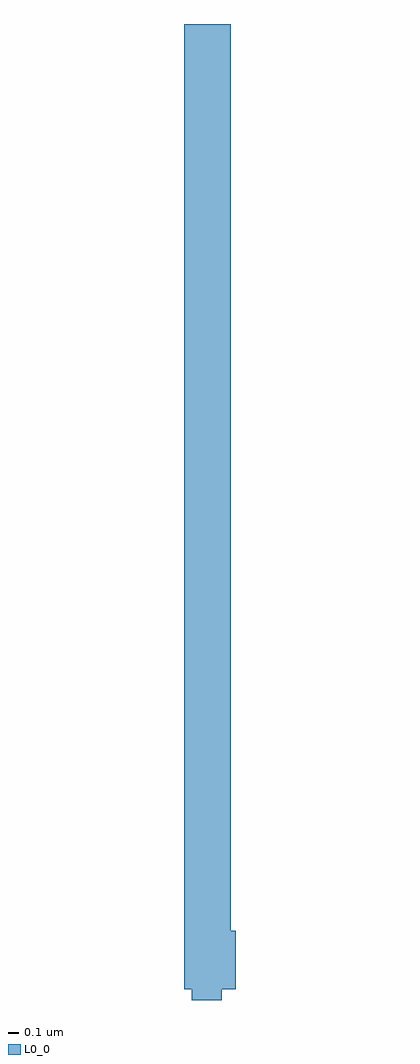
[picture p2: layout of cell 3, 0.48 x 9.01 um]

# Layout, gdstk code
import gdstk
lib = gdstk.Library(unit=1e-6, precision=1e-09)
def P(c, l, *ps):  # polygons
    for p in ps: c.add(gdstk.Polygon(p, *l))
L0_0 = (0, 0)

c_3 = lib.new_cell('3')
P(c_3, L0_0, [(1200,775),(1200.43,775),(1200.43,766.14),(1200,766.14),(1200,775)],
  [(1200,766.63),(1200.48,766.63),(1200.48,766.09),(1200,766.09),(1200,766.63)],
  [(1200.02,766.5),(1200.4,766.5),(1200.4,766.22),(1200.02,766.22),(1200.02,766.5)],
  [(1200,766.5),(1200.35,766.5),(1200.35,766.22),(1200,766.22),(1200,766.5)],
  [(1200.07,766.73),(1200.35,766.73),(1200.35,765.99),(1200.07,765.99),(1200.07,766.73)],
  [(1200.02,766.5),(1200.4,766.5),(1200.4,766.22),(1200.02,766.22),(1200.02,766.5)],
  [(1200,766.55),(1200.48,766.55),(1200.48,766.17),(1200,766.17),(1200,766.55)],
  [(1200.02,766.5),(1200.4,766.5),(1200.4,766.22),(1200.02,766.22),(1200.02,766.5)])

lib.write_gds('3.gds')
